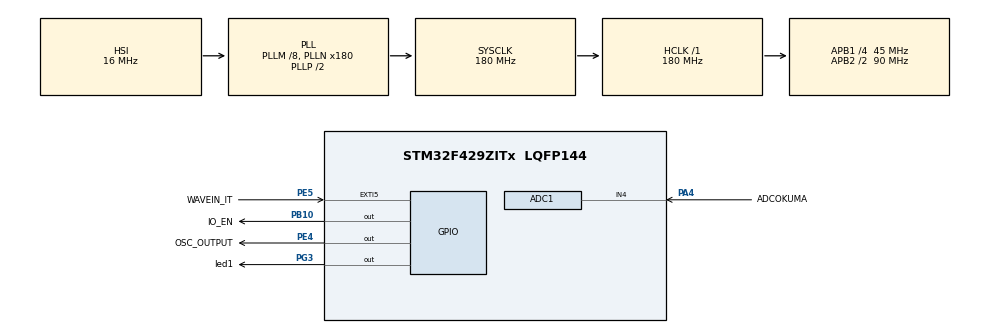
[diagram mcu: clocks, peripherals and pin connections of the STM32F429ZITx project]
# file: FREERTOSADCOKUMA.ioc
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ADC1.Channel-0\#ChannelRegularConversion=ADC_CHANNEL_4
ADC1.ContinuousConvMode=ENABLE
ADC1.NbrOfConversionFlag=1
ADC1.Rank-0\#ChannelRegularConversion=1
ADC1.SamplingTime-0\#ChannelRegularConversion=ADC_SAMPLETIME_480CYCLES
ADC1.master=1
FREERTOS.Tasks01=defaultTask,24,128,StartDefaultTask,Default,NULL,Dynamic,NULL,NULL;TASK1,8,128,StartTask02,Default,NULL,Dynamic,NULL,NULL
Mcu.Family=STM32F4
Mcu.Name=STM32F429ZITx
Mcu.Package=LQFP144
NVIC.ADC_IRQn=true\:10\:0\:true\:false\:true\:true\:true\:true\:true
NVIC.EXTI9_5_IRQn=true\:5\:0\:true\:false\:true\:true\:true\:true\:true
NVIC.PriorityGroup=NVIC_PRIORITYGROUP_4
PA4.GPIO_Label=ADCOKUMA
PA4.Signal=ADCx_IN4
PB10.GPIO_Label=IO_EN
PB10.Signal=GPIO_Output
PE4.GPIO_Label=OSC_OUTPUT
PE4.PinState=GPIO_PIN_SET
PE4.Signal=GPIO_Output
PE5.GPIO_Label=WAVEIN_IT
PE5.GPIO_ModeDefaultEXTI=GPIO_MODE_IT_RISING_FALLING
PE5.Signal=GPXTI5
PG3.GPIO_Label=led1
PG3.Signal=GPIO_Output
ProjectManager.HeapSize=0x200
ProjectManager.StackSize=0x400
ProjectManager.TargetToolchain=STM32CubeIDE
RCC.48MHZClocksFreq_Value=90000000
RCC.AHBFreq_Value=180000000
RCC.APB1CLKDivider=RCC_HCLK_DIV4
RCC.APB1Freq_Value=45000000
RCC.APB1TimFreq_Value=90000000
RCC.APB2CLKDivider=RCC_HCLK_DIV2
RCC.APB2Freq_Value=90000000
RCC.APB2TimFreq_Value=180000000
RCC.CortexFreq_Value=180000000
RCC.HCLKFreq_Value=180000000
RCC.HSE_VALUE=25000000
RCC.HSI_VALUE=16000000
RCC.LSE_VALUE=32768
RCC.PLLM=8
RCC.PLLN=180
RCC.SYSCLKFreq_VALUE=180000000
RCC.SYSCLKSource=RCC_SYSCLKSOURCE_PLLCLK
RCC.VCOOutputFreq_Value=360000000
SH.ADCx_IN4.0=ADC1_IN4,IN4
VP_FREERTOS_VS_CMSIS_V2.Mode=CMSIS_V2
board=custom

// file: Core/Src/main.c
/* USER CODE BEGIN Header */
/**
  ******************************************************************************
  * @file           : main.c
  * @brief          : Main program body
  ******************************************************************************
  * @attention
  *
  * Copyright (c) 2026 STMicroelectronics.
  * All rights reserved.
  *
  * This software is licensed under terms that can be found in the LICENSE file
  * in the root directory of this software component.
  * If no LICENSE file comes with this software, it is provided AS-IS.
  *
  ******************************************************************************
  */
/* USER CODE END Header */
#include "main.h"
#include "cmsis_os.h"

ADC_HandleTypeDef hadc1;

/* Definitions for defaultTask */
osThreadId_t defaultTaskHandle;
const osThreadAttr_t defaultTask_attributes = {
  .name = "defaultTask",
  .stack_size = 128 * 4,
  .priority = (osPriority_t) osPriorityNormal,
};
/* Definitions for TASK1 */
osThreadId_t TASK1Handle;
const osThreadAttr_t TASK1_attributes = {
  .name = "TASK1",
  .stack_size = 128 * 4,
  .priority = (osPriority_t) osPriorityLow,
};
/* USER CODE BEGIN PV */
volatile uint32_t TOTAL_ADC;
volatile uint32_t AVG_ADC;
volatile uint32_t TICK;
/* USER CODE END PV */

void SystemClock_Config(void);
static void MX_GPIO_Init(void);
static void MX_ADC1_Init(void);
void StartDefaultTask(void *argument);
void StartTask02(void *argument);

int main(void)
{

  /* MCU Configuration--------------------------------------------------------*/

  /* Reset of all peripherals, Initializes the Flash interface and the Systick. */
  HAL_Init();

  /* Configure the system clock */
  SystemClock_Config();

  /* Initialize all configured peripherals */
  MX_GPIO_Init();
  MX_ADC1_Init();
  /* USER CODE BEGIN 2 */
  HAL_Delay(1000);
  TOTAL_ADC = 0;

  /* USER CODE END 2 */

  /* Init scheduler */
  osKernelInitialize();

  /* Create the thread(s) */
  /* creation of defaultTask */
  defaultTaskHandle = osThreadNew(StartDefaultTask, NULL, &defaultTask_attributes);

  /* creation of TASK1 */
  TASK1Handle = osThreadNew(StartTask02, NULL, &TASK1_attributes);

  /* Start scheduler */
  osKernelStart();

  /* We should never get here as control is now taken by the scheduler */

  /* Infinite loop */
  while (1)
  {

  }
}

void SystemClock_Config(void)
{
  RCC_OscInitTypeDef RCC_OscInitStruct = {0};
  RCC_ClkInitTypeDef RCC_ClkInitStruct = {0};

  /** Configure the main internal regulator output voltage
  */
  __HAL_RCC_PWR_CLK_ENABLE();
  __HAL_PWR_VOLTAGESCALING_CONFIG(PWR_REGULATOR_VOLTAGE_SCALE1);

  /** Initializes the RCC Oscillators according to the specified parameters
  * in the RCC_OscInitTypeDef structure.
  */
  RCC_OscInitStruct.OscillatorType = RCC_OSCILLATORTYPE_HSI;
  RCC_OscInitStruct.HSIState = RCC_HSI_ON;
  RCC_OscInitStruct.HSICalibrationValue = RCC_HSICALIBRATION_DEFAULT;
  RCC_OscInitStruct.PLL.PLLState = RCC_PLL_ON;
  RCC_OscInitStruct.PLL.PLLSource = RCC_PLLSOURCE_HSI;
  RCC_OscInitStruct.PLL.PLLM = 8;
  RCC_OscInitStruct.PLL.PLLN = 180;
  RCC_OscInitStruct.PLL.PLLP = RCC_PLLP_DIV2;
  RCC_OscInitStruct.PLL.PLLQ = 4;
  if (HAL_RCC_OscConfig(&RCC_OscInitStruct) != HAL_OK)
  {
    Error_Handler();
  }

  /** Activate the Over-Drive mode
  */
  if (HAL_PWREx_EnableOverDrive() != HAL_OK)
  {
    Error_Handler();
  }

  /** Initializes the CPU, AHB and APB buses clocks
  */
  RCC_ClkInitStruct.ClockType = RCC_CLOCKTYPE_HCLK|RCC_CLOCKTYPE_SYSCLK
                              |RCC_CLOCKTYPE_PCLK1|RCC_CLOCKTYPE_PCLK2;
  RCC_ClkInitStruct.SYSCLKSource = RCC_SYSCLKSOURCE_PLLCLK;
  RCC_ClkInitStruct.AHBCLKDivider = RCC_SYSCLK_DIV1;
  RCC_ClkInitStruct.APB1CLKDivider = RCC_HCLK_DIV4;
  RCC_ClkInitStruct.APB2CLKDivider = RCC_HCLK_DIV2;

  if (HAL_RCC_ClockConfig(&RCC_ClkInitStruct, FLASH_LATENCY_5) != HAL_OK)
  {
    Error_Handler();
  }
}

static void MX_ADC1_Init(void)
{

  ADC_ChannelConfTypeDef sConfig = {0};

  /** Configure the global features of the ADC (Clock, Resolution, Data Alignment and number of conversion)
  */
  hadc1.Instance = ADC1;
  hadc1.Init.ClockPrescaler = ADC_CLOCK_SYNC_PCLK_DIV4;
  hadc1.Init.Resolution = ADC_RESOLUTION_12B;
  hadc1.Init.ScanConvMode = DISABLE;
  hadc1.Init.ContinuousConvMode = ENABLE;
  hadc1.Init.DiscontinuousConvMode = DISABLE;
  hadc1.Init.ExternalTrigConvEdge = ADC_EXTERNALTRIGCONVEDGE_NONE;
  hadc1.Init.ExternalTrigConv = ADC_SOFTWARE_START;
  hadc1.Init.DataAlign = ADC_DATAALIGN_RIGHT;
  hadc1.Init.NbrOfConversion = 1;
  hadc1.Init.DMAContinuousRequests = DISABLE;
  hadc1.Init.EOCSelection = ADC_EOC_SINGLE_CONV;
  if (HAL_ADC_Init(&hadc1) != HAL_OK)
  {
    Error_Handler();
  }

  /** Configure for the selected ADC regular channel its corresponding rank in the sequencer and its sample time.
  */
  sConfig.Channel = ADC_CHANNEL_4;
  sConfig.Rank = 1;
  sConfig.SamplingTime = ADC_SAMPLETIME_480CYCLES;
  if (HAL_ADC_ConfigChannel(&hadc1, &sConfig) != HAL_OK)
  {
    Error_Handler();
  }

}

static void MX_GPIO_Init(void)
{
  GPIO_InitTypeDef GPIO_InitStruct = {0};

  /* GPIO Ports Clock Enable */
  __HAL_RCC_GPIOE_CLK_ENABLE();
  __HAL_RCC_GPIOA_CLK_ENABLE();
  __HAL_RCC_GPIOB_CLK_ENABLE();
  __HAL_RCC_GPIOG_CLK_ENABLE();

  /*Configure GPIO pin Output Level */
  HAL_GPIO_WritePin(OSC_OUTPUT_GPIO_Port, OSC_OUTPUT_Pin, GPIO_PIN_SET);

  /*Configure GPIO pin Output Level */
  HAL_GPIO_WritePin(IO_EN_GPIO_Port, IO_EN_Pin, GPIO_PIN_RESET);

  /*Configure GPIO pin Output Level */
  HAL_GPIO_WritePin(led1_GPIO_Port, led1_Pin, GPIO_PIN_RESET);

  /*Configure GPIO pin : OSC_OUTPUT_Pin */
  GPIO_InitStruct.Pin = OSC_OUTPUT_Pin;
  GPIO_InitStruct.Mode = GPIO_MODE_OUTPUT_PP;
  GPIO_InitStruct.Pull = GPIO_NOPULL;
  GPIO_InitStruct.Speed = GPIO_SPEED_FREQ_LOW;
  HAL_GPIO_Init(OSC_OUTPUT_GPIO_Port, &GPIO_InitStruct);

  /*Configure GPIO pin : WAVEIN_IT_Pin */
  GPIO_InitStruct.Pin = WAVEIN_IT_Pin;
  GPIO_InitStruct.Mode = GPIO_MODE_IT_RISING_FALLING;
  GPIO_InitStruct.Pull = GPIO_NOPULL;
  HAL_GPIO_Init(WAVEIN_IT_GPIO_Port, &GPIO_InitStruct);

  /*Configure GPIO pin : IO_EN_Pin */
  GPIO_InitStruct.Pin = IO_EN_Pin;
  GPIO_InitStruct.Mode = GPIO_MODE_OUTPUT_PP;
  GPIO_InitStruct.Pull = GPIO_NOPULL;
  GPIO_InitStruct.Speed = GPIO_SPEED_FREQ_LOW;
  HAL_GPIO_Init(IO_EN_GPIO_Port, &GPIO_InitStruct);

  /*Configure GPIO pin : led1_Pin */
  GPIO_InitStruct.Pin = led1_Pin;
  GPIO_InitStruct.Mode = GPIO_MODE_OUTPUT_PP;
  GPIO_InitStruct.Pull = GPIO_NOPULL;
  GPIO_InitStruct.Speed = GPIO_SPEED_FREQ_LOW;
  HAL_GPIO_Init(led1_GPIO_Port, &GPIO_InitStruct);

  /* EXTI interrupt init*/
  HAL_NVIC_SetPriority(EXTI9_5_IRQn, 5, 0);
  //HAL_NVIC_EnableIRQ(EXTI9_5_IRQn);

}

/* USER CODE BEGIN 4 */

void HAL_GPIO_EXTI_Callback(uint16_t GPIO_Pin){
	if(GPIO_Pin == WAVEIN_IT_Pin){
        // Yükselen kenar
		if(WAVEIN_IT_GPIO_Port->IDR & WAVEIN_IT_Pin){
			// Çıkışı HIGH yap (BSRR ile nanosaniye hızında)
			OSC_OUTPUT_GPIO_Port->BSRR = OSC_OUTPUT_Pin;
			TOTAL_ADC = 0;
			TICK = 0;
			HAL_ADC_Start_IT(&hadc1);
		}
		else{ // Düşen kenar
			// Çıkışı LOW yap (BSRR ile nanosaniye hızında)
			OSC_OUTPUT_GPIO_Port->BSRR = (uint32_t)OSC_OUTPUT_Pin << 16;
			HAL_ADC_Stop_IT(&hadc1);

			BaseType_t xHigherPriorityTaskWoken = pdFALSE;

			vTaskNotifyGiveFromISR(TASK1Handle, &xHigherPriorityTaskWoken);
			portYIELD_FROM_ISR(xHigherPriorityTaskWoken);
		}
	}
}

void HAL_ADC_ConvCpltCallback(ADC_HandleTypeDef* hadc)
{
  if(hadc->Instance == ADC1)
  {
	  TOTAL_ADC += HAL_ADC_GetValue(&hadc1);
	  TICK++;

	  AVG_ADC = TOTAL_ADC/TICK;
  }
}
/* USER CODE END 4 */

void StartDefaultTask(void *argument)
{
  /* USER CODE BEGIN 5 */
  osDelay(1000);
  __HAL_GPIO_EXTI_CLEAR_IT(WAVEIN_IT_Pin);
  HAL_NVIC_EnableIRQ(EXTI9_5_IRQn);
  /* Infinite loop */
  for(;;)
  {
  HAL_GPIO_TogglePin(led1_GPIO_Port, led1_Pin);
    osDelay(100);
  }
  /* USER CODE END 5 */
}

void StartTask02(void *argument)
{
  /* USER CODE BEGIN StartTask02 */
  /* Infinite loop */
  for(;;)
  {

	  ulTaskNotifyTake(pdTRUE, portMAX_DELAY);
	  if(TICK > 0){
		  AVG_ADC = TOTAL_ADC / TICK;
	  }
	  //osDelay(1);

  }
  /* USER CODE END StartTask02 */
}

void Error_Handler(void)
{
  __disable_irq();
  while (1)
  {
  }
}
